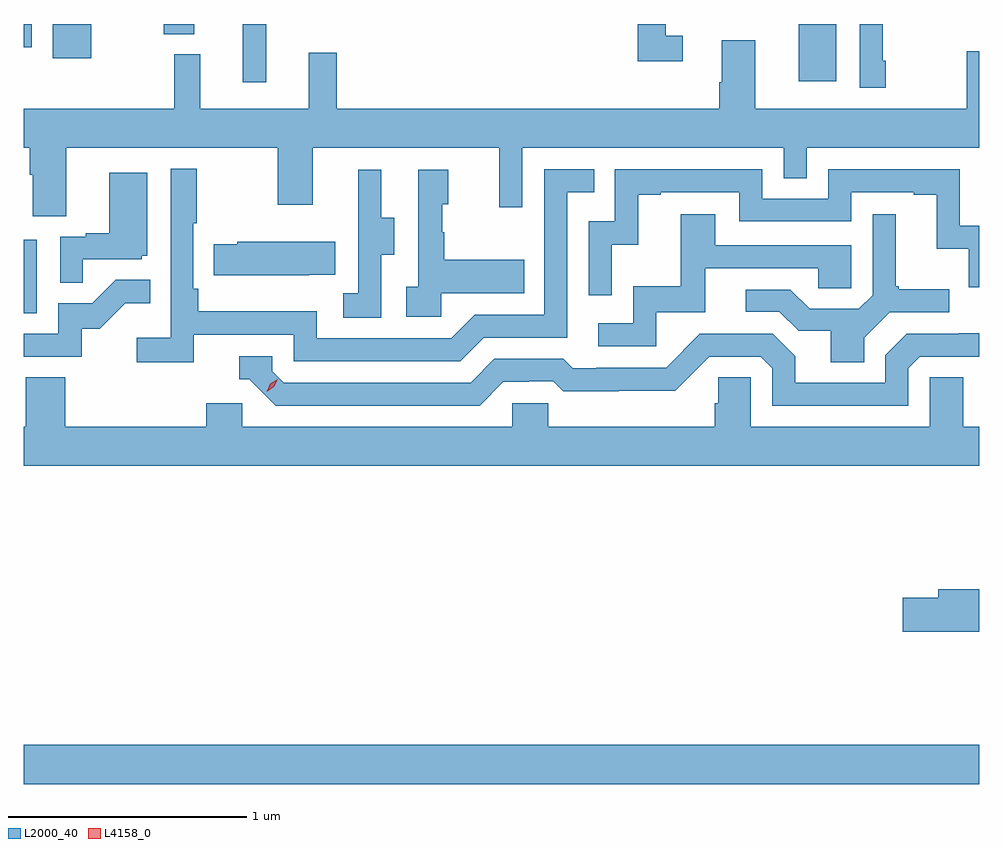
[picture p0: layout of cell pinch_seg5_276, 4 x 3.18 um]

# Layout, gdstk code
import gdstk
lib = gdstk.Library(unit=1e-6, precision=1e-09)
def R(c, l, rs):  # rectangles x0, y0, x1, y1
    for r in rs: c.add(gdstk.rectangle(r[:2], r[2:], *l))
def P(c, l, *ps):  # polygons
    for p in ps: c.add(gdstk.Polygon(p, *l))
L2000_40 = (2000, 40)
L4158_0 = (4158, 0)

pinch_seg5_276 = lib.new_cell('pinch_seg5_276')
R(pinch_seg5_276, L2000_40, [(910.018,907.376,914.018,907.54), (910.018,909.348,910.072,909.655), (910.935,910.314,911.032,910.559), (913.262,910.32,913.42,910.559), (910.139,910.416,910.3,910.559), (910.018,910.462,910.05,910.559), (910.603,910.517,910.732,910.559)])
P(pinch_seg5_276, L2000_40, [(912.778,910.509),(912.705,910.509),(912.705,910.559),(912.589,910.559),(912.589,910.404),(912.778,910.404)],
  [(913.627,910.405),(913.614,910.405),(913.614,910.559),(913.518,910.559),(913.518,910.293),(913.627,910.293)],
  [(910.195,910.04),(911.08,910.04),(911.08,909.801),(911.227,909.801),(911.227,910.04),(912.008,910.04),(912.008,909.792),(912.105,909.792),(912.105,910.04),(913.2,910.04),(913.2,909.913),(913.296,909.913),(913.296,910.04),(914.018,910.04),(914.018,910.444),(913.966,910.444),(913.966,910.204),(913.081,910.204),(913.081,910.49),(912.941,910.49),(912.941,910.316),(912.929,910.316),(912.929,910.204),(911.327,910.204),(911.327,910.438),(911.21,910.438),(911.21,910.204),(910.757,910.204),(910.757,910.432),(910.647,910.432),(910.647,910.204),(910.018,910.204),(910.018,910.04),(910.043,910.04),(910.043,909.928),(910.055,909.928),(910.055,909.754),(910.195,909.754)],
  [(910.73,909.258),(911.148,909.258),(911.148,909.147),(911.845,909.147),(911.944,909.246),(912.294,909.246),(912.294,909.855),(912.407,909.855),(912.407,909.951),(912.198,909.951),(912.198,909.342),(911.907,909.342),(911.808,909.243),(911.244,909.243),(911.244,909.355),(910.748,909.355),(910.748,909.451),(910.728,909.451),(910.728,909.724),(910.741,909.724),(910.741,909.952),(910.632,909.952),(910.632,909.244),(910.491,909.244),(910.491,909.142),(910.73,909.142)],
  [(912.48,909.635),(912.59,909.635),(912.59,909.843),(912.685,909.843),(912.685,909.855),(913.014,909.855),(913.014,909.732),(913.482,909.732),(913.482,909.855),(913.745,909.855),(913.745,909.843),(913.841,909.843),(913.841,909.617),(913.974,909.617),(913.974,909.456),(914.018,909.456),(914.018,909.715),(913.938,909.715),(913.938,909.951),(913.386,909.951),(913.386,909.828),(913.11,909.828),(913.11,909.951),(912.492,909.951),(912.492,909.732),(912.384,909.732),(912.384,909.423),(912.48,909.423)],
  [(911.514,909.592),(911.569,909.592),(911.569,909.747),(911.515,909.747),(911.515,909.949),(911.417,909.949),(911.417,909.735),(911.418,909.735),(911.418,909.431),(911.355,909.431),(911.355,909.328),(911.514,909.328)],
  [(911.766,909.431),(912.113,909.431),(912.113,909.571),(911.779,909.571),(911.779,909.686),(911.769,909.686),(911.769,909.804),(911.794,909.804),(911.794,909.949),(911.67,909.949),(911.67,909.458),(911.619,909.458),(911.619,909.333),(911.766,909.333)],
  [(910.265,909.573),(910.512,909.573),(910.512,909.588),(910.534,909.588),(910.534,909.937),(910.376,909.937),(910.376,909.682),(910.277,909.682),(910.277,909.669),(910.17,909.669),(910.17,909.475),(910.265,909.475)],
  [(912.666,909.351),(912.871,909.351),(912.871,909.537),(913.345,909.537),(913.345,909.453),(913.482,909.453),(913.482,909.633),(912.913,909.633),(912.913,909.763),(912.769,909.763),(912.769,909.46),(912.57,909.46),(912.57,909.306),(912.423,909.306),(912.423,909.21),(912.666,909.21)],
  [(913.537,909.244),(913.644,909.351),(913.894,909.351),(913.894,909.448),(913.681,909.448),(913.681,909.46),(913.669,909.46),(913.669,909.763),(913.572,909.763),(913.572,909.423),(913.515,909.366),(913.309,909.366),(913.228,909.447),(913.041,909.447),(913.041,909.354),(913.182,909.354),(913.262,909.274),(913.397,909.274),(913.397,909.142),(913.537,909.142)],
  [(911.213,909.509),(911.321,909.509),(911.321,909.646),(910.911,909.646),(910.911,909.636),(910.813,909.636),(910.813,909.506),(911.213,909.506)],
  [(910.26,909.282),(910.336,909.282),(910.443,909.389),(910.547,909.389),(910.547,909.488),(910.403,909.488),(910.305,909.39),(910.161,909.39),(910.161,909.261),(910.018,909.261),(910.018,909.165),(910.26,909.165)],
  [(912.025,909.06),(912.132,909.06),(912.132,909.063),(912.235,909.063),(912.277,909.021),(912.51,909.021),(912.51,909.023),(912.746,909.023),(912.888,909.165),(913.104,909.165),(913.152,909.117),(913.152,908.961),(913.722,908.961),(913.722,909.117),(913.77,909.165),(914.018,909.165),(914.018,909.263),(913.932,909.263),(913.932,909.261),(913.716,909.261),(913.626,909.171),(913.626,909.057),(913.249,909.057),(913.249,909.167),(913.155,909.261),(912.849,909.261),(912.708,909.12),(912.415,909.12),(912.415,909.117),(912.316,909.117),(912.277,909.156),(911.988,909.156),(911.889,909.057),(911.106,909.057),(911.058,909.105),(911.058,909.168),(910.919,909.168),(910.919,909.072),(910.962,909.072),(911.073,908.961),(911.926,908.961)],
  [(914.018,908.872),(913.951,908.872),(913.951,909.08),(913.812,909.08),(913.812,908.872),(913.062,908.872),(913.062,909.08),(912.925,909.08),(912.925,908.97),(912.911,908.97),(912.911,908.872),(912.213,908.872),(912.213,908.97),(912.063,908.97),(912.063,908.872),(910.932,908.872),(910.932,908.97),(910.781,908.97),(910.781,908.872),(910.19,908.872),(910.19,909.08),(910.025,909.08),(910.025,908.872),(910.018,908.872),(910.018,908.708),(914.018,908.708)],
  [(914.018,908.192),(913.847,908.192),(913.847,908.156),(913.698,908.156),(913.698,908.014),(914.018,908.014)])
P(pinch_seg5_276, L4158_0, [(911.035,909.019),(911.035,909.019),(911.05,909.052),(911.08,909.072),(911.08,909.072),(911.08,909.072),(911.065,909.039),(911.035,909.019)])

lib.write_gds('pinch_seg5_276.gds')
